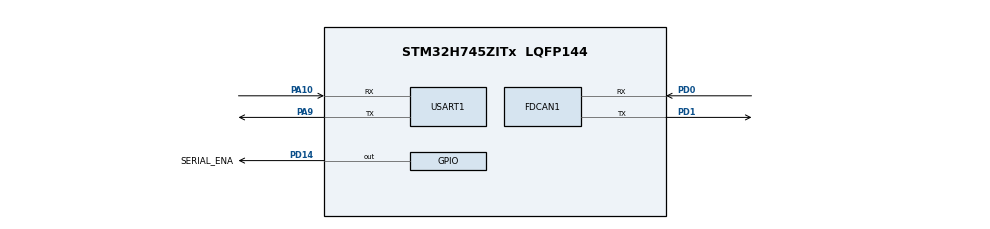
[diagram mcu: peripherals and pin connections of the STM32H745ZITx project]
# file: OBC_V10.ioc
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CORTEX_M7.default_mode_Activation=1
CortexM4.IPs=BDMA,CORTEX_M4\:I,DMA,FATFS_M4\:I,FREERTOS_M4\:I,GPIO,IWDG2\:I,MDMA,NVIC2\:I,OPENAMP_M4\:I,PDM2PCM_M4\:I,PWR,RCC,RESMGR_UTILITY,SYS_M4\:I,USB_DEVICE_M4\:I,USB_HOST_M4\:I,VREFBUF,WWDG2\:I,DEBUG
CortexM7.IPs=BDMA\:I,CORTEX_M7\:I,DMA\:I,FATFS_M7\:I,FREERTOS_M7\:I,GPIO\:I,IWDG1\:I,MDMA\:I,NVIC1\:I,OPENAMP_M7\:I,PDM2PCM_M7\:I,PWR\:I,RCC\:I,RESMGR_UTILITY\:I,SYS\:I,USB_DEVICE_M7\:I,USB_HOST_M7\:I,VREFBUF\:I,WWDG1\:I,MEMORYMAP\:I,DEBUG\:I,USART1\:I,FDCAN1\:I
CortexM7.Pins=PD14
FDCAN1.CalculateBaudRateNominal=500000
FDCAN1.CalculateTimeBitNominal=2000
FDCAN1.CalculateTimeQuantumNominal=200.0
FDCAN1.ExtFiltersNbr=1
FDCAN1.NominalPrescaler=10
FDCAN1.NominalTimeSeg1=8
FDCAN1.NominalTimeSeg2=1
FDCAN1.RxFifo0ElmtsNbr=8
FDCAN1.StdFiltersNbr=0
FDCAN1.TxFifoQueueElmtsNbr=8
Mcu.Family=STM32H7
Mcu.Name=STM32H745ZITx
Mcu.Package=LQFP144
NVIC1.FDCAN1_IT0_IRQn=true\:5\:0\:true\:false\:true\:true\:true\:true
NVIC1.PriorityGroup=NVIC_PRIORITYGROUP_4
NVIC2.PriorityGroup=NVIC_PRIORITYGROUP_4
PA10.Mode=Asynchronous
PA10.PinAttribute=CortexM7
PA10.Signal=USART1_RX
PA13\ (JTMS/SWDIO).Mode=Serial_Wire
PA13\ (JTMS/SWDIO).PinAttribute=CortexM7
PA13\ (JTMS/SWDIO).Signal=DEBUG_JTMS-SWDIO
PA14\ (JTCK/SWCLK).Mode=Serial_Wire
PA14\ (JTCK/SWCLK).PinAttribute=CortexM7
PA14\ (JTCK/SWCLK).Signal=DEBUG_JTCK-SWCLK
PA9.Mode=Asynchronous
PA9.PinAttribute=CortexM7
PA9.Signal=USART1_TX
PD0.Mode=FDCAN_Activate
PD0.PinAttribute=CortexM7
PD0.Signal=FDCAN1_RX
PD1.Mode=FDCAN_Activate
PD1.PinAttribute=CortexM7
PD1.Signal=FDCAN1_TX
PD14.GPIO_Label=SERIAL_ENA
PD14.PinAttribute=CortexM7
PD14.Signal=GPIO_Output
PH0-OSC_IN\ (PH0).Mode=HSE-External-Oscillator
PH0-OSC_IN\ (PH0).PinAttribute=Free
PH0-OSC_IN\ (PH0).Signal=RCC_OSC_IN
PH1-OSC_OUT\ (PH1).Mode=HSE-External-Oscillator
PH1-OSC_OUT\ (PH1).PinAttribute=Free
PH1-OSC_OUT\ (PH1).Signal=RCC_OSC_OUT
ProjectManager.HeapSize=M4-0x200,M7-0x200
ProjectManager.StackSize=M4-0x400,M7-0x400
ProjectManager.TargetToolchain=STM32CubeIDE
RCC.ADCFreq_Value=50390625
RCC.APB1Freq_Value=100000000
RCC.APB2Freq_Value=50000000
RCC.APB3Freq_Value=100000000
RCC.APB4Freq_Value=100000000
RCC.CortexFreq_Value=100000000
RCC.D2PPRE2=RCC_APB2_DIV2
RCC.DIVM1=2
RCC.DIVN1=16
RCC.DIVQ1=4
RCC.HCLKFreq_Value=100000000
RCC.PLLFRACN=0
RCC.PLLSourceVirtual=RCC_PLLSOURCE_HSE
RCC.SYSCLKFreq_VALUE=100000000
RCC.SYSCLKSource=RCC_SYSCLKSOURCE_PLLCLK
RCC.SupplySource=PWR_LDO_SUPPLY
RCC.USBFreq_Value=50000000
SYS.userName=SYS_M7
USART1.VirtualMode-Asynchronous=VM_ASYNC
VP_MEMORYMAP_VS_MEMORYMAP.Mode=CurAppReg
VP_SYS_M4_VS_Systick.Mode=SysTick
board=custom

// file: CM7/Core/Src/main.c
/* USER CODE BEGIN Header */
/**
  ******************************************************************************
  * @file           : main.c
  * @brief          : Main program body
  ******************************************************************************
  * @attention
  *
  * Copyright (c) 2025 STMicroelectronics.
  * All rights reserved.
  *
  * This software is licensed under terms that can be found in the LICENSE file
  * in the root directory of this software component.
  * If no LICENSE file comes with this software, it is provided AS-IS.
  *
  ******************************************************************************
  */
/* USER CODE END Header */
#include "main.h"

/* USER CODE BEGIN Includes */

#include "FreeRTOS.h"
#include "queue.h"
#include "semphr.h"
#include "task.h"
#include "timers.h"

#include "can.h"
/* USER CODE END Includes */

/* USER CODE BEGIN PD */

/* DUAL_CORE_BOOT_SYNC_SEQUENCE: Define for dual core boot synchronization    */
/*                             demonstration code based on hardware semaphore */
/* This define is present in both CM7/CM4 projects                            */
/* To comment when developping/debugging on a single core                     */
//#define DUAL_CORE_BOOT_SYNC_SEQUENCE

#if defined(DUAL_CORE_BOOT_SYNC_SEQUENCE)
#ifndef HSEM_ID_0
#define HSEM_ID_0 (0U) /* HW semaphore 0*/
#endif
#endif /* DUAL_CORE_BOOT_SYNC_SEQUENCE */

#define PROTOCOL_OBC_ADDR		1
#define PROTOCOL_COMM_ADDR		2
#define PROTOCOL_EXP_ADDR		3

/* USER CODE END PD */

FDCAN_HandleTypeDef hfdcan1;
uint32_t server_received = 0;

uint8_t dest = 3;

void SystemClock_Config(void);
static void MPU_Config(void);
static void MX_GPIO_Init(void);
static void MX_USART1_UART_Init(void);
static void MX_FDCAN1_Init(void);

/* USER CODE BEGIN 0 */

extern csp_conf_t csp_conf;
extern csp_iface_t can_iface;

FDCAN_TxHeaderTypeDef txHeader;
uint8_t txData[8];
uint32_t txBufferIndex = 0;

void csp_tx_task(void *argument) {

	const char *msg = "H\n";
//	const char *msg = "Hello world\n";
	for(;;)
	{
		csp_conn_t *conn = csp_connect(CSP_PRIO_NORM, dest, 8, 1000, CSP_O_NONE);
		if (conn == NULL) {
			vTaskDelay(1000);
			continue;
		}

		/* Cấp packet và copy payload */
		size_t len = strlen(msg);
		csp_packet_t *pkt = csp_buffer_get(len);
		if (pkt == NULL) {
			csp_close(conn);
			vTaskDelay(1000);
			continue;
		}

		memcpy(pkt->data, msg, len);
		pkt->length = len;

		/* Gửi packet, nếu lỗi thì phải free buffer */
		if (csp_send(conn, pkt, 1000 /*ms*/) != CSP_ERR_NONE) {
			csp_buffer_free(pkt);
		}

		/* Đóng kết nối */
		csp_close(conn);

		vTaskDelay(1000);
	}
}

void csp_rx_task(void *argument) {
	/* Create socket with no specific socket options, e.g. accepts CRC32, HMAC, XTEA, etc. if enabled during compilation */
	csp_socket_t *sock = csp_socket(CSP_SO_NONE);

	/* Bind socket to all ports, e.g. all incoming connections will be handled here */
	csp_bind(sock, CSP_ANY);

	/* Create a backlog of 10 connections, i.e. up to 10 new connections can be queued */
	csp_listen(sock, 10);

	/* Wait for connections and then process packets on the connection */
	while (1) {
		/* Wait for a new connection, 1000 mS timeout */
		csp_conn_t *conn;
		if ((conn = csp_accept(sock, 1000)) == NULL) {
			/* timeout */
			continue;
		}

		/* Read packets on connection, timout is 100 mS */
		csp_packet_t *packet;
		while ((packet = csp_read(conn, 100)) != NULL) {
			switch (csp_conn_dport(conn)) {
			case 8:
			case 10:
				/* Process packet here */
				csp_log_info("Packet received on MY_SERVER_PORT: %s", (char *) packet->data);
				csp_buffer_free(packet);
				++server_received;
				break;

			default:
				/* Call the default CSP service handler, handle pings, buffer use, etc. */
//				csp_service_handler(conn, packet);
				break;
			}
		}
		/* Close current connection */
		csp_close(conn);

		vTaskDelay(100);
	}
}

/* USER CODE END 0 */

int main(void)
{

/* USER CODE BEGIN Boot_Mode_Sequence_0 */
#if defined(DUAL_CORE_BOOT_SYNC_SEQUENCE)
  int32_t timeout;
#endif /* DUAL_CORE_BOOT_SYNC_SEQUENCE */
/* USER CODE END Boot_Mode_Sequence_0 */

  /* MPU Configuration--------------------------------------------------------*/
  MPU_Config();

/* USER CODE BEGIN Boot_Mode_Sequence_1 */
#if defined(DUAL_CORE_BOOT_SYNC_SEQUENCE)
  /* Wait until CPU2 boots and enters in stop mode or timeout*/
  timeout = 0xFFFF;
  while((__HAL_RCC_GET_FLAG(RCC_FLAG_D2CKRDY) != RESET) && (timeout-- > 0));
  if ( timeout < 0 )
  {
  Error_Handler();
  }
#endif /* DUAL_CORE_BOOT_SYNC_SEQUENCE */
/* USER CODE END Boot_Mode_Sequence_1 */
  /* MCU Configuration--------------------------------------------------------*/

  /* Reset of all peripherals, Initializes the Flash interface and the Systick. */
  HAL_Init();

  /* Configure the system clock */
  SystemClock_Config();
/* USER CODE BEGIN Boot_Mode_Sequence_2 */
#if defined(DUAL_CORE_BOOT_SYNC_SEQUENCE)
/* When system initialization is finished, Cortex-M7 will release Cortex-M4 by means of
HSEM notification */
/*HW semaphore Clock enable*/
__HAL_RCC_HSEM_CLK_ENABLE();
/*Take HSEM */
HAL_HSEM_FastTake(HSEM_ID_0);
/*Release HSEM in order to notify the CPU2(CM4)*/
HAL_HSEM_Release(HSEM_ID_0,0);
/* wait until CPU2 wakes up from stop mode */
timeout = 0xFFFF;
while((__HAL_RCC_GET_FLAG(RCC_FLAG_D2CKRDY) == RESET) && (timeout-- > 0));
if ( timeout < 0 )
{
Error_Handler();
}
#endif /* DUAL_CORE_BOOT_SYNC_SEQUENCE */
/* USER CODE END Boot_Mode_Sequence_2 */

  /* Initialize all configured peripherals */
  MX_GPIO_Init();
  MX_USART1_UART_Init();
  MX_FDCAN1_Init();
  /* USER CODE BEGIN 2 */

  LL_GPIO_SetOutputPin(SERIAL_ENA_GPIO_Port, SERIAL_ENA_Pin);

  /*CSP INIT*/
  csp_conf_get_defaults(&csp_conf);
  csp_init(&csp_conf);

  /*CSP INTERFACE INIT*/
  can_csp_init();
  csp_route_start_task(500, 6);
  csp_rtable_set(dest, CSP_ID_HOST_SIZE, &can_iface, 1);

  xTaskCreate(csp_tx_task, "csp_can_tx", configMINIMAL_STACK_SIZE * 10, NULL, configMAX_PRIORITIES - 3U, NULL);
  xTaskCreate(csp_rx_task, "csp_can_rx", configMINIMAL_STACK_SIZE * 10, NULL, configMAX_PRIORITIES - 1, NULL);
  vTaskStartScheduler();

  /* USER CODE END 2 */

  /* Infinite loop */
  while (1)
  {

  }
}

void SystemClock_Config(void)
{
  LL_FLASH_SetLatency(LL_FLASH_LATENCY_2);
  while(LL_FLASH_GetLatency()!= LL_FLASH_LATENCY_2)
  {
  }
  LL_PWR_ConfigSupply(LL_PWR_LDO_SUPPLY);
  LL_PWR_SetRegulVoltageScaling(LL_PWR_REGU_VOLTAGE_SCALE3);
  while (LL_PWR_IsActiveFlag_VOS() == 0)
  {
  }
  LL_RCC_HSE_Enable();

   /* Wait till HSE is ready */
  while(LL_RCC_HSE_IsReady() != 1)
  {

  }
  LL_RCC_PLL_SetSource(LL_RCC_PLLSOURCE_HSE);
  LL_RCC_PLL1P_Enable();
  LL_RCC_PLL1Q_Enable();
  LL_RCC_PLL1R_Enable();
  LL_RCC_PLL1_SetVCOInputRange(LL_RCC_PLLINPUTRANGE_8_16);
  LL_RCC_PLL1_SetVCOOutputRange(LL_RCC_PLLVCORANGE_WIDE);
  LL_RCC_PLL1_SetM(2);
  LL_RCC_PLL1_SetN(16);
  LL_RCC_PLL1_SetP(2);
  LL_RCC_PLL1_SetQ(4);
  LL_RCC_PLL1_SetR(2);
  LL_RCC_PLL1_Enable();

   /* Wait till PLL is ready */
  while(LL_RCC_PLL1_IsReady() != 1)
  {
  }

   /* Intermediate AHB prescaler 2 when target frequency clock is higher than 80 MHz */
   LL_RCC_SetAHBPrescaler(LL_RCC_AHB_DIV_2);

  LL_RCC_SetSysClkSource(LL_RCC_SYS_CLKSOURCE_PLL1);

   /* Wait till System clock is ready */
  while(LL_RCC_GetSysClkSource() != LL_RCC_SYS_CLKSOURCE_STATUS_PLL1)
  {

  }
  LL_RCC_SetSysPrescaler(LL_RCC_SYSCLK_DIV_1);
  LL_RCC_SetAHBPrescaler(LL_RCC_AHB_DIV_1);
  LL_RCC_SetAPB1Prescaler(LL_RCC_APB1_DIV_1);
  LL_RCC_SetAPB2Prescaler(LL_RCC_APB2_DIV_2);
  LL_RCC_SetAPB3Prescaler(LL_RCC_APB3_DIV_1);
  LL_RCC_SetAPB4Prescaler(LL_RCC_APB4_DIV_1);
  LL_SetSystemCoreClock(100000000);

   /* Update the time base */
  if (HAL_InitTick (TICK_INT_PRIORITY) != HAL_OK)
  {
    Error_Handler();
  }
}

static void MX_FDCAN1_Init(void)
{

  hfdcan1.Instance = FDCAN1;
  hfdcan1.Init.FrameFormat = FDCAN_FRAME_CLASSIC;
  hfdcan1.Init.Mode = FDCAN_MODE_NORMAL;
  hfdcan1.Init.AutoRetransmission = DISABLE;
  hfdcan1.Init.TransmitPause = DISABLE;
  hfdcan1.Init.ProtocolException = DISABLE;
  hfdcan1.Init.NominalPrescaler = 10;
  hfdcan1.Init.NominalSyncJumpWidth = 1;
  hfdcan1.Init.NominalTimeSeg1 = 8;
  hfdcan1.Init.NominalTimeSeg2 = 1;
  hfdcan1.Init.DataPrescaler = 1;
  hfdcan1.Init.DataSyncJumpWidth = 1;
  hfdcan1.Init.DataTimeSeg1 = 1;
  hfdcan1.Init.DataTimeSeg2 = 1;
  hfdcan1.Init.MessageRAMOffset = 0;
  hfdcan1.Init.StdFiltersNbr = 1;
  hfdcan1.Init.ExtFiltersNbr = 0;
  hfdcan1.Init.RxFifo0ElmtsNbr = 8;
  hfdcan1.Init.RxFifo0ElmtSize = FDCAN_DATA_BYTES_8;
  hfdcan1.Init.RxFifo1ElmtsNbr = 0;
  hfdcan1.Init.RxFifo1ElmtSize = FDCAN_DATA_BYTES_8;
  hfdcan1.Init.RxBuffersNbr = 0;
  hfdcan1.Init.RxBufferSize = FDCAN_DATA_BYTES_8;
  hfdcan1.Init.TxEventsNbr = 0;
  hfdcan1.Init.TxBuffersNbr = 0;
  hfdcan1.Init.TxFifoQueueElmtsNbr = 8;
  hfdcan1.Init.TxFifoQueueMode = FDCAN_TX_FIFO_OPERATION;
  hfdcan1.Init.TxElmtSize = FDCAN_DATA_BYTES_8;
  if (HAL_FDCAN_Init(&hfdcan1) != HAL_OK)
  {
    Error_Handler();
  }

}

static void MX_USART1_UART_Init(void)
{

  LL_USART_InitTypeDef USART_InitStruct = {0};

  LL_GPIO_InitTypeDef GPIO_InitStruct = {0};

  LL_RCC_SetUSARTClockSource(LL_RCC_USART16_CLKSOURCE_PCLK2);

  /* Peripheral clock enable */
  LL_APB2_GRP1_EnableClock(LL_APB2_GRP1_PERIPH_USART1);

  LL_AHB4_GRP1_EnableClock(LL_AHB4_GRP1_PERIPH_GPIOA);
  /**USART1 GPIO Configuration
  PA9   ------> USART1_TX
  PA10   ------> USART1_RX
  */
  GPIO_InitStruct.Pin = LL_GPIO_PIN_9|LL_GPIO_PIN_10;
  GPIO_InitStruct.Mode = LL_GPIO_MODE_ALTERNATE;
  GPIO_InitStruct.Speed = LL_GPIO_SPEED_FREQ_LOW;
  GPIO_InitStruct.OutputType = LL_GPIO_OUTPUT_PUSHPULL;
  GPIO_InitStruct.Pull = LL_GPIO_PULL_NO;
  GPIO_InitStruct.Alternate = LL_GPIO_AF_7;
  LL_GPIO_Init(GPIOA, &GPIO_InitStruct);

  USART_InitStruct.PrescalerValue = LL_USART_PRESCALER_DIV1;
  USART_InitStruct.BaudRate = 115200;
  USART_InitStruct.DataWidth = LL_USART_DATAWIDTH_8B;
  USART_InitStruct.StopBits = LL_USART_STOPBITS_1;
  USART_InitStruct.Parity = LL_USART_PARITY_NONE;
  USART_InitStruct.TransferDirection = LL_USART_DIRECTION_TX_RX;
  USART_InitStruct.HardwareFlowControl = LL_USART_HWCONTROL_NONE;
  USART_InitStruct.OverSampling = LL_USART_OVERSAMPLING_16;
  LL_USART_Init(USART1, &USART_InitStruct);
  LL_USART_SetTXFIFOThreshold(USART1, LL_USART_FIFOTHRESHOLD_1_8);
  LL_USART_SetRXFIFOThreshold(USART1, LL_USART_FIFOTHRESHOLD_1_8);
  LL_USART_DisableFIFO(USART1);
  LL_USART_ConfigAsyncMode(USART1);

  LL_USART_Enable(USART1);

  /* Polling USART1 initialisation */
  while((!(LL_USART_IsActiveFlag_TEACK(USART1))) || (!(LL_USART_IsActiveFlag_REACK(USART1))))
  {
  }

}

static void MX_GPIO_Init(void)
{
  LL_GPIO_InitTypeDef GPIO_InitStruct = {0};

  /* GPIO Ports Clock Enable */
  LL_AHB4_GRP1_EnableClock(LL_AHB4_GRP1_PERIPH_GPIOD);
  LL_AHB4_GRP1_EnableClock(LL_AHB4_GRP1_PERIPH_GPIOA);

  /**/
  LL_GPIO_ResetOutputPin(SERIAL_ENA_GPIO_Port, SERIAL_ENA_Pin);

  /**/
  GPIO_InitStruct.Pin = SERIAL_ENA_Pin;
  GPIO_InitStruct.Mode = LL_GPIO_MODE_OUTPUT;
  GPIO_InitStruct.Speed = LL_GPIO_SPEED_FREQ_LOW;
  GPIO_InitStruct.OutputType = LL_GPIO_OUTPUT_PUSHPULL;
  GPIO_InitStruct.Pull = LL_GPIO_PULL_NO;
  LL_GPIO_Init(SERIAL_ENA_GPIO_Port, &GPIO_InitStruct);

}

 /* MPU Configuration */

void MPU_Config(void)
{

  /* Disables the MPU */
  LL_MPU_Disable();

  /** Initializes and configures the Region and the memory to be protected
  */
  LL_MPU_ConfigRegion(LL_MPU_REGION_NUMBER0, 0x87, 0x0, LL_MPU_REGION_SIZE_4GB|LL_MPU_TEX_LEVEL0|LL_MPU_REGION_NO_ACCESS|LL_MPU_INSTRUCTION_ACCESS_DISABLE|LL_MPU_ACCESS_SHAREABLE|LL_MPU_ACCESS_NOT_CACHEABLE|LL_MPU_ACCESS_NOT_BUFFERABLE);
  /* Enables the MPU */
  LL_MPU_Enable(LL_MPU_CTRL_PRIVILEGED_DEFAULT);

}

void Error_Handler(void)
{
  __disable_irq();
  while (1)
  {
  }
}
